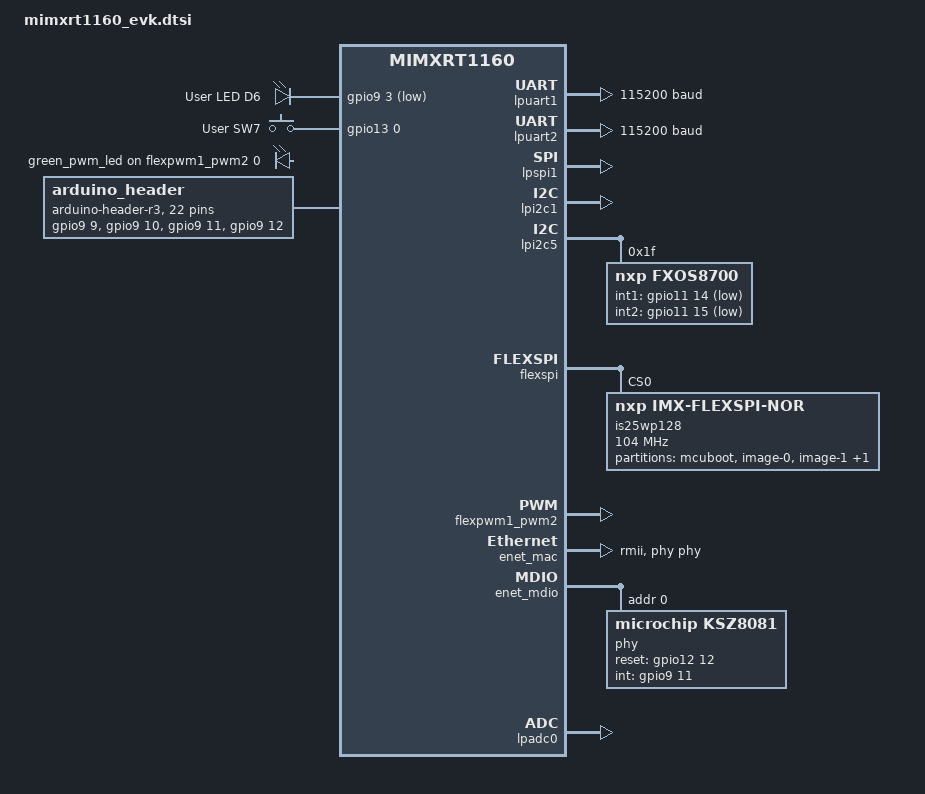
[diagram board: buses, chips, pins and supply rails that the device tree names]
/*
 * Copyright (c) 2021, NXP
 *
 * SPDX-License-Identifier: Apache-2.0
 */

 #include "mimxrt1160_evk-pinctrl.dtsi"
 #include <nxp/nxp_rt1160.dtsi>
 #include <zephyr/dt-bindings/input/input-event-codes.h>
 
 / {
	 aliases {
		 led0 = &green_led;
		 sw0 = &user_button;
		 magn0 = &fxos8700;
		 accel0 = &fxos8700;
		 sdhc0 = &usdhc1;
		 mcuboot-button0 = &user_button;
	 };
 
	 leds {
		 compatible = "gpio-leds";
		 green_led: led-1 {
			 gpios = <&gpio9 3 GPIO_ACTIVE_LOW>;
			 label = "User LED D6";
		 };
	 };
 
	 gpio_keys {
		 compatible = "gpio-keys";
		 user_button: button-1 {
			 label = "User SW7";
			 gpios = <&gpio13 0 GPIO_ACTIVE_HIGH>;
			 zephyr,code = <INPUT_KEY_0>;
		 };
	 };
 
	 pwmleds {
		 compatible = "pwm-leds";
 
		 green_pwm_led: green_pwm_led {
			 pwms = <&flexpwm1_pwm2 0 PWM_MSEC(20) PWM_POLARITY_NORMAL>;
		 };
	 };
 
	 arduino_header: connector {
		 compatible = "arduino-header-r3";
		 #gpio-cells = <2>;
		 gpio-map-mask = <0xffffffff 0xffffffc0>;
		 gpio-map-pass-thru = <0 0x3f>;
		 gpio-map = <0 0 &gpio9 9 0>,	/* A0 iomuxc_gpio_ad_10*/
				<1 0 &gpio9 10 0>,	/* A1 iomuxc_gpio_ad_11*/
				<2 0 &gpio9 11 0>,	/* A2 iomuxc_gpio_ad_12*/
				<3 0 &gpio9 12 0>,	/* A3 iomuxc_gpio_ad_13*/
				<4 0 &gpio9 8 0>,	/* A4 iomuxc_gpio_ad_09*/
				<5 0 &gpio9 7 0>,	/* A5 iomuxc_gpio_ad_08*/
				<6 0 &gpio11 12 0>,	/* D0 iomuxc_gpio_disp_b2_11_lpuart2_rx UART_TX */
				<7 0 &gpio11 11 0>,	/* D1 iomuxc_gpio_disp_b2_10_lpuart2_tx UART_RX */
				<8 0 &gpio11 13 0>,	/* D2 iomuxc_gpio_disp_b2_12 */
				<9 0 &gpio9 3 0>,	/* D3 iomuxc_gpio_ad_04*/
				<10 0 &gpio9 5 0>,	/* D4 iomuxc_gpio_ad_06*/
				<11 0 &gpio9 4 0>,	/* D5 iomuxc_gpio_ad_05*/
				<12 0 &gpio8 31 0>,	/* D6 iomuxc_gpio_ad_00*/
				<13 0 &gpio9 13 0>,	/* D7 iomuxc_gpio_ad_14*/
				<14 0 &gpio9 6 0>,	/* D8 iomuxc_gpio_ad_07*/
				<15 0 &gpio9 0 0>,	/* D9 iomuxc_gpio_ad_01*/
				<16 0 &gpio9 28 0>,	/* D10 iomuxc_gpio_ad_29_lpspi1_pcs0 SPI_SS */
				<17 0 &gpio9 29 0>,	/* D11 iomuxc_gpio_ad_30_lpspi1_sdo SPI_MOSI */
				<18 0 &gpio9 30 0>,	/* D12 iomuxc_gpio_ad_31_lpspi1_sdi SPI_MISO */
				<19 0 &gpio9 27 0>,	/* D13 iomuxc_gpio_ad_28_lpspi1_sck SPI_CLK */
				<20 0 &gpio12 4 0>,	/* D14 iomuxc_lpsr_gpio_lpsr_04_lpi2c5_sda I2C_SCL */
				<21 0 &gpio12 5 0>;	/* D15 iomuxc_lpsr_gpio_lpsr_05_lpi2c5_scl I2C_SDA */
	 };
 };
 
 &lpuart1 {
	 status = "okay";
	 current-speed = <115200>;
	 pinctrl-0 = <&pinmux_lpuart1>;
	 pinctrl-1 = <&pinmux_lpuart1_sleep>;
	 pinctrl-names = "default", "sleep";
 };
 
 arduino_serial: &lpuart2 {
	 status = "okay";
	 current-speed = <115200>;
	 pinctrl-0 = <&pinmux_lpuart2>;
	 pinctrl-1 = <&pinmux_lpuart2_sleep>;
	 pinctrl-names = "default", "sleep";
 };
 
 arduino_spi: &lpspi1 {
	 status = "okay";
	 pinctrl-0 = <&pinmux_lpspi1>;
	 pinctrl-names = "default";
 };
 
 &user_button {
	 status = "okay";
 };
 
 &green_led {
	 status = "okay";
 };
 
 &lpi2c1 {
	 status = "okay";
	 pinctrl-0 = <&pinmux_lpi2c1>;
	 pinctrl-names = "default";
 };
 
 arduino_i2c: &lpi2c5 {
	 status = "okay";
	 pinctrl-0 = <&pinmux_lpi2c5>;
	 pinctrl-names = "default";
 
	 fxos8700: fxos8700@1f {
		 compatible = "nxp,fxos8700";
		 reg = <0x1f>;
 
		 /* Two zero ohm resistors (R256 and R270) isolate sensor
		  * interrupt gpios from the soc and are unpopulated by default.
		  * Note that if you populate them, they conflict with camera and
		  * ethernet PHY reset signals.
		  */
		 int1-gpios = <&gpio11 14 GPIO_ACTIVE_LOW>;
		 int2-gpios = <&gpio11 15 GPIO_ACTIVE_LOW>;
	 };
 };
 
 &flexspi {
	 status = "okay";
	 ahb-prefetch;
	 ahb-read-addr-opt;
	 rx-clock-source = <1>;
	 reg = <0x400cc000 0x4000>, <0x30000000 DT_SIZE_M(16)>;
	 is25wp128: is25wp128@0 {
		 compatible = "nxp,imx-flexspi-nor";
		 size = <DT_SIZE_M(16*8)>;
		 reg = <0>;
		 spi-max-frequency = <104000000>;
		 status = "okay";
		 jedec-id = [9d 70 17];
		 erase-block-size = <4096>;
		 write-block-size = <1>;
 
		 partitions {
			 compatible = "fixed-partitions";
			 #address-cells = <1>;
			 #size-cells = <1>;
			 boot_partition: partition@0 {
				 label = "mcuboot";
				 reg = <0x00000000 DT_SIZE_K(128)>;
			 };
			 /* The MCUBoot swap-move algorithm uses the last 3 sectors
			  * of the primary slot0 for swap status and move.
			  */
			 slot0_partition: partition@20000 {
				 label = "image-0";
				 reg = <0x00020000 (DT_SIZE_M(7) + DT_SIZE_K(12))>;
			 };
			 slot1_partition: partition@723000 {
				 label = "image-1";
				 reg = <0x00723000 DT_SIZE_M(7)>;
			 };
			 storage_partition: partition@E23000 {
				 label = "storage";
				 reg = <0x00E23000 (DT_SIZE_M(2) - DT_SIZE_K(140))>;
			 };
		 };
	 };
 };
 
 &flexpwm1_pwm2 {
	 status = "okay";
	 pinctrl-0 = <&pinmux_flexpwm1>;
	 pinctrl-names = "default";
 };
 
 &enet_mac {
	 status = "okay";
	 pinctrl-0 = <&pinmux_enet>;
	 pinctrl-names = "default";
	 phy-handle = <&phy>;
	 phy-connection-type = "rmii";
	 zephyr,random-mac-address;
 };
 
 &enet_mdio {
	 status = "okay";
	 pinctrl-0 = <&pinmux_enet_mdio>;
	 pinctrl-names = "default";
	 phy: phy@0 {
		 compatible = "microchip,ksz8081";
		 reg = <0>;
		 status = "okay";
		 reset-gpios = <&gpio12 12 GPIO_ACTIVE_HIGH>;
		 int-gpios = <&gpio9 11 GPIO_ACTIVE_HIGH>;
		 microchip,interface-type = "rmii";
	 };
 };
 
 &enet_ptp_clock {
	 status = "okay";
	 pinctrl-0 = <&pinmux_ptp>;
	 pinctrl-names = "default";
 };
 
 &csi {
	 pinctrl-0 = <&pinmux_csi>;
	 pinctrl-names = "default";
 };
 
 &flexcan3 {
	 pinctrl-0 = <&pinmux_flexcan3>;
	 pinctrl-names = "default";
 };
 
 &lcdif {
	 pinctrl-0 = <&pinmux_lcdif>;
	 pinctrl-names = "default";
 };
 
 &lpi2c1 {
	 pinctrl-0 = <&pinmux_lpi2c1>;
	 pinctrl-names = "default";
 };
 
 &sai1 {
	 pinctrl-0 = <&pinmux_sai1>;
	 pinctrl-names = "default";
 };
 
 &lpadc0 {
	 pinctrl-0 = <&pinmux_lpadc0>;
	 pinctrl-names = "default";
 };
 
 &lpadc0 {
	 status = "okay";
	 pinctrl-0 = <&pinmux_lpadc0>;
	 pinctrl-names = "default";
 };
 
 &flexspi {
	 pinctrl-0 = <&pinmux_flexspi1>;
	 pinctrl-names = "default";
 };
 
 &usdhc1 {
	 pinctrl-0 = <&pinmux_usdhc1>;
	 pinctrl-1 = <&pinmux_usdhc1_dat3_nopull>;
	 pinctrl-names = "default", "nopull";
 };
 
